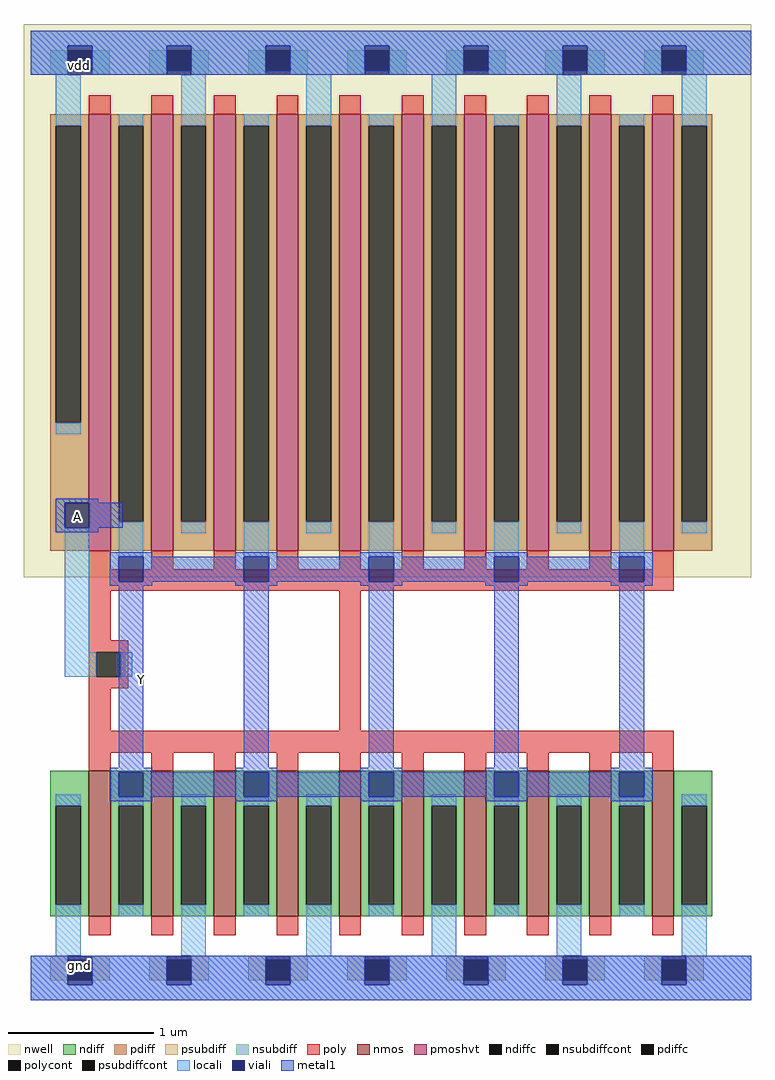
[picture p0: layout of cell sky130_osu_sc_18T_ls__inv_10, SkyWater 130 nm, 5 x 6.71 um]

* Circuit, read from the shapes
.subckt sky130_osu_sc_18T_ls__inv_10 Y A
XM1 Y A gnd gnd sky130_fd_pr__nfet_01v8 w=1 l=0.15 m=10
XM2 Y A vdd vdd sky130_fd_pr__pfet_01v8_hvt w=3 l=0.15 m=10
.ends

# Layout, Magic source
magic
tech sky130A
magscale 1 2
<< nwell >>
rect -9 581 990 1341
<< nmos >>
rect 80 115 110 315
rect 166 115 196 315
rect 252 115 282 315
rect 338 115 368 315
rect 424 115 454 315
rect 510 115 540 315
rect 596 115 626 315
rect 682 115 712 315
rect 768 115 798 315
rect 854 115 884 315
<< pmoshvt >>
rect 80 617 110 1217
rect 166 617 196 1217
rect 252 617 282 1217
rect 338 617 368 1217
rect 424 617 454 1217
rect 510 617 540 1217
rect 596 617 626 1217
rect 682 617 712 1217
rect 768 617 798 1217
rect 854 617 884 1217
<< ndiff >>
rect 27 267 80 315
rect 27 131 35 267
rect 69 131 80 267
rect 27 115 80 131
rect 110 267 166 315
rect 110 131 121 267
rect 155 131 166 267
rect 110 115 166 131
rect 196 267 252 315
rect 196 131 207 267
rect 241 131 252 267
rect 196 115 252 131
rect 282 267 338 315
rect 282 131 293 267
rect 327 131 338 267
rect 282 115 338 131
rect 368 267 424 315
rect 368 131 379 267
rect 413 131 424 267
rect 368 115 424 131
rect 454 267 510 315
rect 454 131 465 267
rect 499 131 510 267
rect 454 115 510 131
rect 540 267 596 315
rect 540 131 551 267
rect 585 131 596 267
rect 540 115 596 131
rect 626 267 682 315
rect 626 131 637 267
rect 671 131 682 267
rect 626 115 682 131
rect 712 267 768 315
rect 712 131 723 267
rect 757 131 768 267
rect 712 115 768 131
rect 798 267 854 315
rect 798 131 809 267
rect 843 131 854 267
rect 798 115 854 131
rect 884 267 937 315
rect 884 131 895 267
rect 929 131 937 267
rect 884 115 937 131
<< pdiff >>
rect 27 1201 80 1217
rect 27 793 35 1201
rect 69 793 80 1201
rect 27 617 80 793
rect 110 1201 166 1217
rect 110 657 121 1201
rect 155 657 166 1201
rect 110 617 166 657
rect 196 1201 252 1217
rect 196 657 207 1201
rect 241 657 252 1201
rect 196 617 252 657
rect 282 1201 338 1217
rect 282 657 293 1201
rect 327 657 338 1201
rect 282 617 338 657
rect 368 1201 424 1217
rect 368 657 379 1201
rect 413 657 424 1201
rect 368 617 424 657
rect 454 1201 510 1217
rect 454 657 465 1201
rect 499 657 510 1201
rect 454 617 510 657
rect 540 1201 596 1217
rect 540 657 551 1201
rect 585 657 596 1201
rect 540 617 596 657
rect 626 1201 682 1217
rect 626 657 637 1201
rect 671 657 682 1201
rect 626 617 682 657
rect 712 1201 768 1217
rect 712 657 723 1201
rect 757 657 768 1201
rect 712 617 768 657
rect 798 1201 854 1217
rect 798 657 809 1201
rect 843 657 854 1201
rect 798 617 854 657
rect 884 1201 937 1217
rect 884 657 895 1201
rect 929 657 937 1201
rect 884 617 937 657
<< ndiffc >>
rect 35 131 69 267
rect 121 131 155 267
rect 207 131 241 267
rect 293 131 327 267
rect 379 131 413 267
rect 465 131 499 267
rect 551 131 585 267
rect 637 131 671 267
rect 723 131 757 267
rect 809 131 843 267
rect 895 131 929 267
<< pdiffc >>
rect 35 793 69 1201
rect 121 657 155 1201
rect 207 657 241 1201
rect 293 657 327 1201
rect 379 657 413 1201
rect 465 657 499 1201
rect 551 657 585 1201
rect 637 657 671 1201
rect 723 657 757 1201
rect 809 657 843 1201
rect 895 657 929 1201
<< psubdiff >>
rect 27 27 51 61
rect 85 27 109 61
rect 163 27 187 61
rect 221 27 245 61
rect 299 27 323 61
rect 357 27 381 61
rect 435 27 459 61
rect 493 27 517 61
rect 571 27 595 61
rect 629 27 653 61
rect 707 27 731 61
rect 765 27 789 61
rect 843 27 867 61
rect 901 27 925 61
<< nsubdiff >>
rect 27 1271 51 1305
rect 85 1271 109 1305
rect 163 1271 187 1305
rect 221 1271 245 1305
rect 299 1271 323 1305
rect 357 1271 381 1305
rect 435 1271 459 1305
rect 493 1271 517 1305
rect 571 1271 595 1305
rect 629 1271 653 1305
rect 707 1271 731 1305
rect 765 1271 789 1305
rect 843 1271 867 1305
rect 901 1271 925 1305
<< psubdiffcont >>
rect 51 27 85 61
rect 187 27 221 61
rect 323 27 357 61
rect 459 27 493 61
rect 595 27 629 61
rect 731 27 765 61
rect 867 27 901 61
<< nsubdiffcont >>
rect 51 1271 85 1305
rect 187 1271 221 1305
rect 323 1271 357 1305
rect 459 1271 493 1305
rect 595 1271 629 1305
rect 731 1271 765 1305
rect 867 1271 901 1305
<< poly >>
rect 80 1217 110 1243
rect 166 1217 196 1243
rect 252 1217 282 1243
rect 338 1217 368 1243
rect 424 1217 454 1243
rect 510 1217 540 1243
rect 596 1217 626 1243
rect 682 1217 712 1243
rect 768 1217 798 1243
rect 854 1217 884 1243
rect 80 592 110 617
rect 166 592 196 617
rect 252 592 282 617
rect 338 592 368 617
rect 424 592 454 617
rect 510 592 540 617
rect 596 592 626 617
rect 682 592 712 617
rect 768 592 798 617
rect 854 592 884 617
rect 80 562 884 592
rect 80 494 110 562
rect 80 478 134 494
rect 80 444 90 478
rect 124 444 134 478
rect 80 428 134 444
rect 80 370 110 428
rect 424 370 454 562
rect 80 340 884 370
rect 80 315 110 340
rect 166 315 196 340
rect 252 315 282 340
rect 338 315 368 340
rect 424 315 454 340
rect 510 315 540 340
rect 596 315 626 340
rect 682 315 712 340
rect 768 315 798 340
rect 854 315 884 340
rect 80 89 110 115
rect 166 89 196 115
rect 252 89 282 115
rect 338 89 368 115
rect 424 89 454 115
rect 510 89 540 115
rect 596 89 626 115
rect 682 89 712 115
rect 768 89 798 115
rect 854 89 884 115
<< polycont >>
rect 90 444 124 478
<< locali >>
rect 0 1311 990 1332
rect 0 1271 51 1311
rect 85 1271 187 1311
rect 221 1271 323 1311
rect 357 1271 459 1311
rect 493 1271 595 1311
rect 629 1271 731 1311
rect 765 1271 867 1311
rect 901 1271 990 1311
rect 35 1201 69 1271
rect 35 777 69 793
rect 121 1201 155 1217
rect 47 478 81 649
rect 121 609 155 657
rect 207 1201 241 1271
rect 207 641 241 657
rect 293 1201 327 1217
rect 293 609 327 657
rect 379 1201 413 1271
rect 379 641 413 657
rect 465 1201 499 1217
rect 465 609 499 657
rect 551 1201 585 1271
rect 551 641 585 657
rect 637 1201 671 1217
rect 637 609 671 657
rect 723 1201 757 1271
rect 723 641 757 657
rect 809 1201 843 1217
rect 809 609 843 657
rect 895 1201 929 1271
rect 895 641 929 657
rect 47 444 90 478
rect 124 444 140 478
rect 35 267 69 283
rect 35 61 69 131
rect 121 267 155 279
rect 121 115 155 131
rect 207 267 241 283
rect 207 61 241 131
rect 293 267 327 279
rect 293 115 327 131
rect 379 267 413 283
rect 379 61 413 131
rect 465 267 499 279
rect 465 115 499 131
rect 551 267 585 283
rect 551 61 585 131
rect 637 267 671 279
rect 637 115 671 131
rect 723 267 757 283
rect 723 61 757 131
rect 809 267 843 279
rect 809 115 843 131
rect 895 267 929 283
rect 895 61 929 131
rect 0 21 51 61
rect 85 21 187 61
rect 221 21 323 61
rect 357 21 459 61
rect 493 21 595 61
rect 629 21 731 61
rect 765 21 867 61
rect 901 21 990 61
rect 0 0 990 21
<< viali >>
rect 51 1305 85 1311
rect 51 1277 85 1305
rect 187 1305 221 1311
rect 187 1277 221 1305
rect 323 1305 357 1311
rect 323 1277 357 1305
rect 459 1305 493 1311
rect 459 1277 493 1305
rect 595 1305 629 1311
rect 595 1277 629 1305
rect 731 1305 765 1311
rect 731 1277 765 1305
rect 867 1305 901 1311
rect 867 1277 901 1305
rect 47 649 81 683
rect 121 575 155 609
rect 293 575 327 609
rect 465 575 499 609
rect 637 575 671 609
rect 809 575 843 609
rect 121 279 155 313
rect 293 279 327 313
rect 465 279 499 313
rect 637 279 671 313
rect 809 279 843 313
rect 51 27 85 55
rect 51 21 85 27
rect 187 27 221 55
rect 187 21 221 27
rect 323 27 357 55
rect 323 21 357 27
rect 459 27 493 55
rect 459 21 493 27
rect 595 27 629 55
rect 595 21 629 27
rect 731 27 765 55
rect 731 21 765 27
rect 867 27 901 55
rect 867 21 901 27
<< metal1 >>
rect 0 1311 990 1332
rect 0 1277 51 1311
rect 85 1277 187 1311
rect 221 1277 323 1311
rect 357 1277 459 1311
rect 493 1277 595 1311
rect 629 1277 731 1311
rect 765 1277 867 1311
rect 901 1277 990 1311
rect 0 1271 990 1277
rect 35 683 93 689
rect 35 649 47 683
rect 81 649 127 683
rect 35 643 93 649
rect 109 609 167 615
rect 281 609 339 615
rect 453 609 511 615
rect 625 609 683 615
rect 797 609 855 615
rect 109 575 121 609
rect 155 575 293 609
rect 327 575 465 609
rect 499 575 637 609
rect 671 575 809 609
rect 843 575 855 609
rect 109 569 167 575
rect 281 569 339 575
rect 453 569 511 575
rect 625 569 683 575
rect 797 569 855 575
rect 121 319 155 569
rect 293 319 327 569
rect 465 319 499 569
rect 637 319 671 569
rect 809 319 843 569
rect 109 313 167 319
rect 281 313 339 319
rect 453 313 511 319
rect 625 313 683 319
rect 797 313 855 319
rect 109 279 121 313
rect 155 279 293 313
rect 327 279 465 313
rect 499 279 637 313
rect 671 279 809 313
rect 843 279 855 313
rect 109 273 167 279
rect 281 273 339 279
rect 453 273 511 279
rect 625 273 683 279
rect 797 273 855 279
rect 0 55 990 61
rect 0 21 51 55
rect 85 21 187 55
rect 221 21 323 55
rect 357 21 459 55
rect 493 21 595 55
rect 629 21 731 55
rect 765 21 867 55
rect 901 21 990 55
rect 0 0 990 21
<< labels >>
rlabel metal1 152 440 152 440 1 Y
port 1 n
rlabel metal1 64 665 64 665 1 A
port 2 n
rlabel viali 68 48 68 48 1 gnd
rlabel viali 68 1284 68 1284 1 vdd
<< end >>
